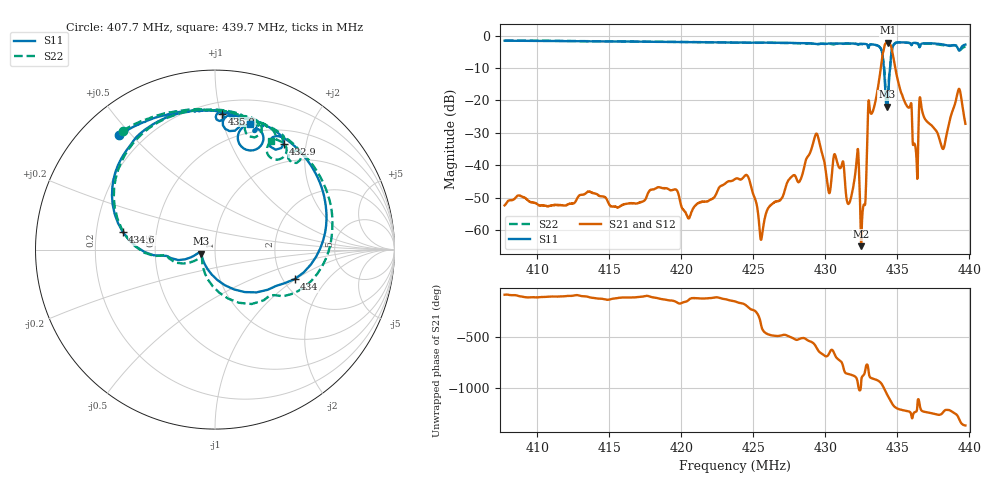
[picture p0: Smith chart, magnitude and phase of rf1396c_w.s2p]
!RF1396C Device 1 ENG1 fixture Wide span
# HZ S RI R 50
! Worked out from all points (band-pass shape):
!   1601 points, 407.7 MHz to 439.7 MHz, reference 50 ohm
!   highest |S21| = -2.17 dB at 434.3 MHz (marker M1); lowest = -64.8 dB at 432.5 MHz (marker M2)
!   |S21| within 3 dB of the highest: 434.0038 MHz to 434.6511 MHz (647.3 kHz wide, 0.149 % of centre)
!   lowest |S11| = -21.9 dB at 434.3 MHz (marker M3), VSWR 1.17, Z = 42.8 - j2 ohm
!   |S11| at or under -10 dB: 434.067 MHz to 434.4879 MHz (420.9 kHz wide, 0.0969 % of centre)
!   |S22| runs from -21.6 to -1.5 dB; largest |S21 - S12| = 0.0034
!   S11 on the Smith chart (normalised r, x): 407.7 MHz: 0.11, +0.46; 432.9 MHz: 0.70, +1.62; 434 MHz: 2.31, -0.98; 434.6 MHz: 0.32, +0.09; 435.9 MHz: 0.28, +1.01; 439.7 MHz: 0.42, +1.23
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4.0772e8  -0.5342 0.637  0.000585 -0.00236  0.000622 -0.00237  -0.5139 0.663
4.1306e8  -0.417 0.7013  2.19e-05 -0.00354  7.67e-05 -0.00356  -0.3803 0.7273
4.184e8  -0.2779 0.7477  -0.00174 -0.0043  -0.00174 -0.00432  -0.2209 0.7698
4.205e8  -0.2198 0.7621  -0.000947 -0.0012  -0.000957 -0.00122  -0.1537 0.7792
4.2372e8  -0.1155 0.7707  -0.0049 -0.00375  -0.0049 -0.0038  -0.0378 0.7793
4.2556e8  -0.0589 0.775  0.000624 -0.000411  0.000637 -0.000401  0.0279 0.7732
4.2906e8  0.0859 0.7513  -0.0187 0.00234  -0.0188 0.00226  0.1887 0.7262
4.3162e8  0.2087 0.7258  -0.0021 -0.00152  -0.00206 -0.00153  0.3246 0.6746
4.322e8  0.2662 0.6913  -0.0139 0.00524  -0.014 0.00532  0.3845 0.6262
4.3248e8  0.294 0.686  -0.00038 0.000429  -0.000397 0.000416  0.4069 0.6133
4.3294e8  0.3821 0.5877  0.0223 -0.0407  0.0224 -0.0417  0.4734 0.4977
4.3398e8  0.4438 -0.1646  -0.0826 0.5191  -0.0823 0.5182  0.3809 -0.2602
4.3426e8  -0.077 -0.0232  0.734 0.2492  0.7353 0.249  -0.072 -0.0467
4.3434e8  -0.0992 -0.0231  0.7782 -0.0287  0.7799 -0.0295  -0.0956 -0.0536
4.344e8  -0.1648 -0.0536  0.7321 -0.2412  0.7334 -0.2424  -0.1768 -0.0777
4.3458e8  -0.5144 0.0992  0.2711 -0.5931  0.2727 -0.5956  -0.521 0.1182
4.359e8  0.0408 0.7578  -0.0813 -0.022  -0.0815 -0.0223  0.1681 0.7338
4.3626e8  0.075 0.7661  -0.0175 -0.00635  -0.0174 -0.00647  0.207 0.7336
4.3664e8  0.0566 0.7355  -0.067 -0.0569  -0.0666 -0.0569  0.1879 0.709
4.3814e8  0.2248 0.6937  -0.0177 -0.00327  -0.0177 -0.00344  0.3418 0.623
4.3922e8  0.2436 0.5674  -0.124 0.0716  -0.1241 0.0712  0.3893 0.5249
4.3972e8  0.1929 0.6982  0.0181 0.0399  0.0178 0.0398  0.3111 0.6043
